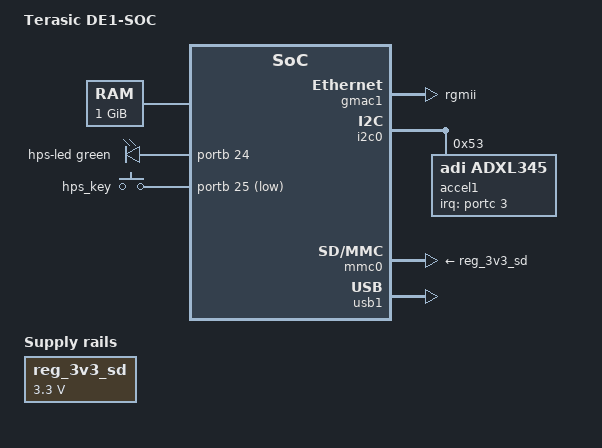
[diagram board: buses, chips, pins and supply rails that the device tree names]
// SPDX-License-Identifier: GPL-2.0+
/*
 * Copyright (C) 2024 Florian Vaussard <florian.vaussard@gmail.com>
 */

#include "socfpga_cyclone5.dtsi"

#include <dt-bindings/gpio/gpio.h>
#include <dt-bindings/input/input.h>
#include <dt-bindings/interrupt-controller/irq.h>
#include <dt-bindings/leds/common.h>

/ {
	model = "Terasic DE1-SOC";
	compatible = "terasic,de1-soc", "altr,socfpga-cyclone5", "altr,socfpga";

	chosen {
		stdout-path = "serial0:115200n8";
	};

	memory@0 {
		device_type = "memory";
		reg = <0x0 0x40000000>; /* 1GB */
	};

	aliases {
		/*
		 * this allows the ethaddr uboot environmnet variable content
		 * to be added to the gmac1 device tree blob.
		 */
		ethernet0 = &gmac1;
	};

	leds {
		compatible = "gpio-leds";

		hps-led {
			gpios = <&portb 24 GPIO_ACTIVE_HIGH>;	/* HPS_GPIO53 */
			function = LED_FUNCTION_HEARTBEAT;
			color = <LED_COLOR_ID_GREEN>;
			linux,default-trigger = "heartbeat";
		};
	};

	gpio-keys {
		compatible = "gpio-keys";

		hps-key {
			label = "hps_key";
			gpios = <&portb 25 GPIO_ACTIVE_LOW>;	/* HPS_GPIO54 */
			linux,code = <BTN_0>;
		};
	};

	reg_3v3_sd: regulator {
		compatible = "regulator-fixed";
		regulator-name = "VCC3P3";
		regulator-min-microvolt = <3300000>;
		regulator-max-microvolt = <3300000>;
	};
};

&gmac1 {
	status = "okay";
	phy-mode = "rgmii";

	rxd0-skew-ps = <0>;
	rxd1-skew-ps = <0>;
	rxd2-skew-ps = <0>;
	rxd3-skew-ps = <0>;
	txen-skew-ps = <0>;
	txc-skew-ps = <2600>;
	rxdv-skew-ps = <0>;
	rxc-skew-ps = <2000>;
};

&gpio0 {	/* GPIO 0..29 */
	status = "okay";
};

&gpio1 {	/* GPIO 30..57 */
	status = "okay";
};

&gpio2 {	/* GPIO 58..66 (HLGPI 0..13 at offset 13) */
	status = "okay";
};

&i2c0 {
	status = "okay";

	accel1: accelerometer@53 {
		compatible = "adi,adxl345";
		reg = <0x53>;

		interrupt-parent = <&portc>;
		interrupts = <3 IRQ_TYPE_EDGE_FALLING>;
	};
};

&mmc0 {
	vmmc-supply = <&reg_3v3_sd>;
	vqmmc-supply = <&reg_3v3_sd>;
	status = "okay";
};

&usb1 {
	status = "okay";
};
